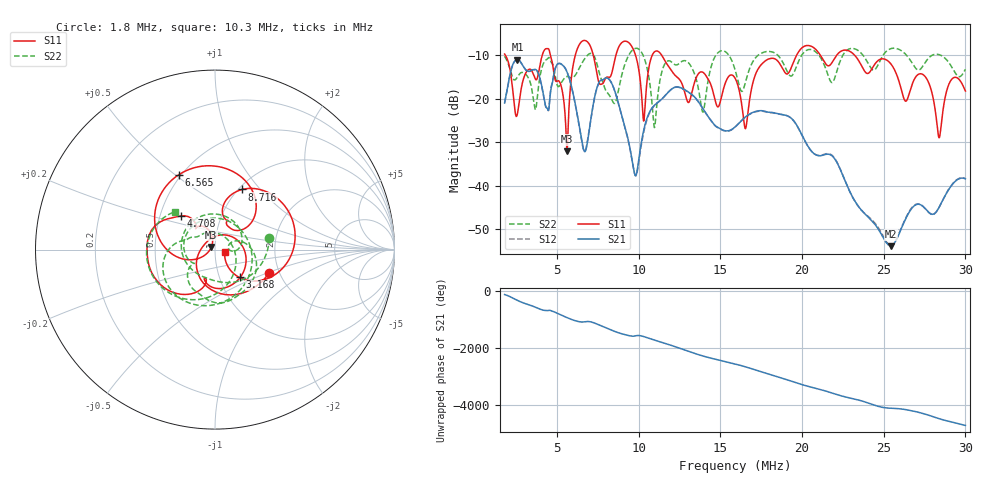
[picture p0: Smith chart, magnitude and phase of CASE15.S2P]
!Agilent Technologies,E5061B,MY49101568,A.02.00
!Date: Wed Mar 01 13:26:28 2023
!Data & Calibration Information:
!Freq	S11:SOLT2(OFF)	S21:SOLT2(OFF)	S12:SOLT2(OFF)	S22:SOLT2(OFF)
# Hz S dB R 50
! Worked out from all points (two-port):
!   1155 points, 1.8 MHz to 30 MHz, reference 50 ohm
!   highest |S21| = -10.94 dB at 2.582 MHz (marker M1); lowest = -54.0 dB at 25.43 MHz (marker M2)
!   |S21| within 3 dB of the highest: 2.158 MHz to 3.843 MHz (1.685 MHz wide, 56.2 % of centre); 4.833 MHz to 5.633 MHz (799.6 kHz wide, 15.3 % of centre)
!   lowest |S11| = -32.1 dB at 5.612 MHz (marker M3), VSWR 1.05, Z = 48 + j1.38 ohm
!   |S11| at or under -10 dB: 1.855 MHz to 4.1 MHz (2.245 MHz wide, 75.4 % of centre); 11.42 MHz to 19.66 MHz (8.242 MHz wide, 53 % of centre); 23.23 MHz to end of sweep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
!   |S22| runs from -26.6 to -8.3 dB; largest |S21 - S12| = 0.0064
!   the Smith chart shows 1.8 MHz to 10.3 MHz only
!   S11 on the Smith chart (normalised r, x): 1.8 MHz: 1.77, -0.51; 3.168 MHz: 1.25, -0.41; 4.708 MHz: 0.64, +0.26; 6.565 MHz: 0.49, +0.52; 8.716 MHz: 1.04, +0.81; 10.3 MHz: 1.11, -0.03
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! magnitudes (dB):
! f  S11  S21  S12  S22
! 1.8 MHz  -9.7  -21.0  -21.0  -10.2
! 2.582 MHz  -23.5  -10.9  -10.9  -15.0
! 3.168 MHz  -13.6  -13.5  -13.5  -14.6
! 4.708 MHz  -11.5  -16.6  -16.4  -11.9
! 5.612 MHz  -32.1  -13.8  -13.7  -14.9
! 6.516 MHz  -6.8  -29.6  -29.7  -11.9
! 6.565 MHz  -6.7  -30.6  -30.7  -11.6
! 7.64 MHz  -16.6  -15.9  -15.9  -14.7
! 8.716 MHz  -8.7  -20.3  -20.4  -19.0
! 9.791 MHz  -9.7  -37.7  -37.6  -8.4
! 10.3 MHz  -25.1  -27.4  -27.9  -10.2
! 11.21 MHz  -9.1  -20.7  -20.8  -18.2
! 13.04 MHz  -20.9  -18.4  -18.5  -11.6
! 13.92 MHz  -13.9  -22.2  -22.2  -23.0
! 15.9 MHz  -15.2  -26.5  -26.5  -13.2
! 16.54 MHz  -26.9  -24.2  -24.2  -16.2
! 17.49 MHz  -12.2  -22.7  -22.8  -9.5
! 20.62 MHz  -8.0  -32.2  -32.2  -8.7
! 25.31 MHz  -11.4  -53.7  -53.7  -8.6
! 25.43 MHz  -11.9  -54.0  -53.7  -8.4
! 28.39 MHz  -29.0  -45.0  -45.0  -9.8
! 30 MHz  -18.2  -38.4  -38.4  -13.2
